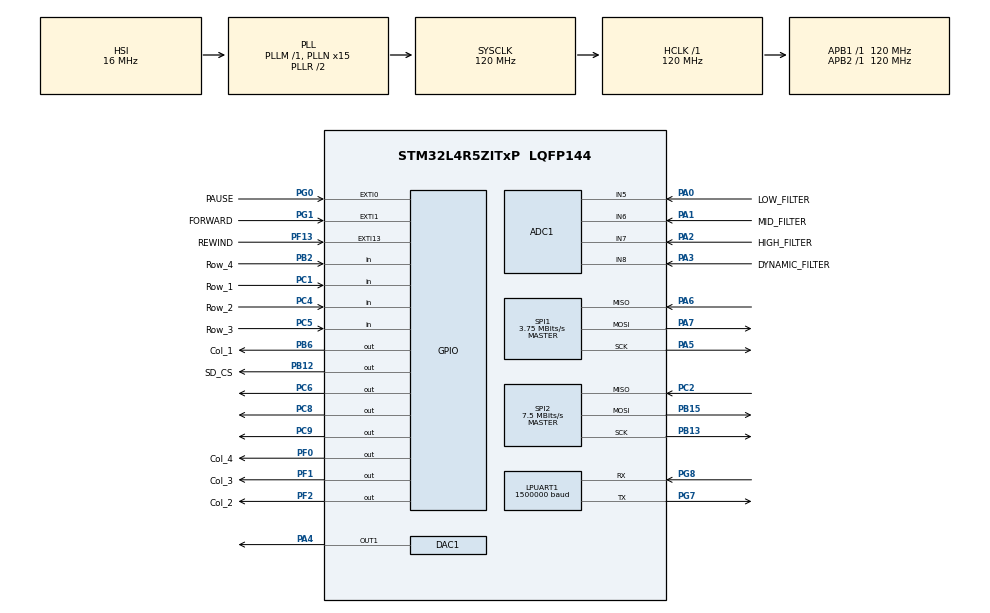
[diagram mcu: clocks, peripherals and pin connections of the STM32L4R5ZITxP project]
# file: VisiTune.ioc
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ADC1.Channel-0\#ChannelRegularConversion=ADC_CHANNEL_5
ADC1.Channel-1\#ChannelRegularConversion=ADC_CHANNEL_6
ADC1.Channel-2\#ChannelRegularConversion=ADC_CHANNEL_7
ADC1.Channel-3\#ChannelRegularConversion=ADC_CHANNEL_8
ADC1.ClockPrescaler=ADC_CLOCK_ASYNC_DIV2
ADC1.ContinuousConvMode=DISABLE
ADC1.DMAContinuousRequests=DISABLE
ADC1.ExternalTrigConv=ADC_SOFTWARE_START
ADC1.NbrOfConversion=4
ADC1.NbrOfConversionFlag=1
ADC1.OffsetNumber-0\#ChannelRegularConversion=ADC_OFFSET_NONE
ADC1.OffsetNumber-1\#ChannelRegularConversion=ADC_OFFSET_NONE
ADC1.OffsetNumber-2\#ChannelRegularConversion=ADC_OFFSET_NONE
ADC1.OffsetNumber-3\#ChannelRegularConversion=ADC_OFFSET_NONE
ADC1.Rank-0\#ChannelRegularConversion=1
ADC1.Rank-1\#ChannelRegularConversion=2
ADC1.Rank-2\#ChannelRegularConversion=3
ADC1.Rank-3\#ChannelRegularConversion=4
ADC1.SamplingTime-0\#ChannelRegularConversion=ADC_SAMPLETIME_247CYCLES_5
ADC1.SamplingTime-1\#ChannelRegularConversion=ADC_SAMPLETIME_247CYCLES_5
ADC1.SamplingTime-2\#ChannelRegularConversion=ADC_SAMPLETIME_247CYCLES_5
ADC1.SamplingTime-3\#ChannelRegularConversion=ADC_SAMPLETIME_247CYCLES_5
ADC1.master=1
DAC1.DAC_Trigger-DAC_OUT1=DAC_TRIGGER_T2_TRGO
Dma.ADC1.2.Direction=DMA_PERIPH_TO_MEMORY
Dma.ADC1.2.EventEnable=DISABLE
Dma.ADC1.2.Instance=DMA1_Channel3
Dma.ADC1.2.MemDataAlignment=DMA_MDATAALIGN_HALFWORD
Dma.ADC1.2.MemInc=DMA_MINC_ENABLE
Dma.ADC1.2.Mode=DMA_CIRCULAR
Dma.ADC1.2.PeriphDataAlignment=DMA_PDATAALIGN_HALFWORD
Dma.ADC1.2.PeriphInc=DMA_PINC_DISABLE
Dma.ADC1.2.Polarity=HAL_DMAMUX_REQUEST_GEN_RISING
Dma.ADC1.2.Priority=DMA_PRIORITY_LOW
Dma.ADC1.2.RequestNumber=1
Dma.ADC1.2.SignalID=NONE
Dma.ADC1.2.SyncEnable=DISABLE
Dma.ADC1.2.SyncPolarity=HAL_DMAMUX_SYNC_NO_EVENT
Dma.ADC1.2.SyncRequestNumber=1
Dma.ADC1.2.SyncSignalID=NONE
Dma.DAC1_CH1.0.Direction=DMA_MEMORY_TO_PERIPH
Dma.DAC1_CH1.0.EventEnable=DISABLE
Dma.DAC1_CH1.0.Instance=DMA1_Channel1
Dma.DAC1_CH1.0.MemDataAlignment=DMA_MDATAALIGN_HALFWORD
Dma.DAC1_CH1.0.MemInc=DMA_MINC_ENABLE
Dma.DAC1_CH1.0.Mode=DMA_CIRCULAR
Dma.DAC1_CH1.0.PeriphDataAlignment=DMA_PDATAALIGN_HALFWORD
Dma.DAC1_CH1.0.PeriphInc=DMA_PINC_DISABLE
Dma.DAC1_CH1.0.Polarity=HAL_DMAMUX_REQUEST_GEN_RISING
Dma.DAC1_CH1.0.Priority=DMA_PRIORITY_LOW
Dma.DAC1_CH1.0.RequestNumber=1
Dma.DAC1_CH1.0.SignalID=NONE
Dma.DAC1_CH1.0.SyncEnable=DISABLE
Dma.DAC1_CH1.0.SyncPolarity=HAL_DMAMUX_SYNC_NO_EVENT
Dma.DAC1_CH1.0.SyncRequestNumber=1
Dma.DAC1_CH1.0.SyncSignalID=NONE
Dma.LPUART1_RX.1.Direction=DMA_PERIPH_TO_MEMORY
Dma.LPUART1_RX.1.EventEnable=DISABLE
Dma.LPUART1_RX.1.Instance=DMA1_Channel2
Dma.LPUART1_RX.1.MemDataAlignment=DMA_MDATAALIGN_BYTE
Dma.LPUART1_RX.1.MemInc=DMA_MINC_ENABLE
Dma.LPUART1_RX.1.Mode=DMA_NORMAL
Dma.LPUART1_RX.1.PeriphDataAlignment=DMA_PDATAALIGN_BYTE
Dma.LPUART1_RX.1.PeriphInc=DMA_PINC_DISABLE
Dma.LPUART1_RX.1.Polarity=HAL_DMAMUX_REQUEST_GEN_RISING
Dma.LPUART1_RX.1.Priority=DMA_PRIORITY_LOW
Dma.LPUART1_RX.1.RequestNumber=1
Dma.LPUART1_RX.1.SignalID=NONE
Dma.LPUART1_RX.1.SyncEnable=DISABLE
Dma.LPUART1_RX.1.SyncPolarity=HAL_DMAMUX_SYNC_NO_EVENT
Dma.LPUART1_RX.1.SyncRequestNumber=1
Dma.LPUART1_RX.1.SyncSignalID=NONE
Dma.Request0=DAC1_CH1
Dma.Request1=LPUART1_RX
Dma.Request2=ADC1
Dma.Request3=SPI2_RX
Dma.SPI2_RX.3.Direction=DMA_PERIPH_TO_MEMORY
Dma.SPI2_RX.3.EventEnable=DISABLE
Dma.SPI2_RX.3.Instance=DMA1_Channel4
Dma.SPI2_RX.3.MemDataAlignment=DMA_MDATAALIGN_BYTE
Dma.SPI2_RX.3.MemInc=DMA_MINC_ENABLE
Dma.SPI2_RX.3.Mode=DMA_NORMAL
Dma.SPI2_RX.3.PeriphDataAlignment=DMA_PDATAALIGN_BYTE
Dma.SPI2_RX.3.PeriphInc=DMA_PINC_DISABLE
Dma.SPI2_RX.3.Polarity=HAL_DMAMUX_REQUEST_GEN_RISING
Dma.SPI2_RX.3.Priority=DMA_PRIORITY_LOW
Dma.SPI2_RX.3.RequestNumber=1
Dma.SPI2_RX.3.SignalID=NONE
Dma.SPI2_RX.3.SyncEnable=DISABLE
Dma.SPI2_RX.3.SyncPolarity=HAL_DMAMUX_SYNC_NO_EVENT
Dma.SPI2_RX.3.SyncRequestNumber=1
Dma.SPI2_RX.3.SyncSignalID=NONE
LPUART1.BaudRate=1500000
LPUART1.WordLength=UART_WORDLENGTH_8B
Mcu.Family=STM32L4
Mcu.Name=STM32L4R5ZITxP
Mcu.Package=LQFP144
NVIC.ADC1_IRQn=true\:0\:0\:false\:false\:true\:true\:true\:true
NVIC.DMA1_Channel1_IRQn=true\:0\:0\:false\:false\:true\:false\:true\:true
NVIC.DMA1_Channel2_IRQn=true\:0\:0\:false\:false\:true\:false\:true\:true
NVIC.DMA1_Channel3_IRQn=true\:0\:0\:false\:false\:true\:false\:true\:true
NVIC.DMA1_Channel4_IRQn=true\:0\:0\:false\:false\:true\:false\:true\:true
NVIC.EXTI0_IRQn=true\:0\:0\:false\:false\:true\:true\:true\:true
NVIC.EXTI15_10_IRQn=true\:0\:0\:false\:false\:true\:true\:true\:true
NVIC.EXTI1_IRQn=true\:0\:0\:false\:false\:true\:true\:true\:true
NVIC.LPUART1_IRQn=true\:0\:0\:false\:false\:true\:true\:true\:true
NVIC.PriorityGroup=NVIC_PRIORITYGROUP_4
PA0.GPIO_Label=LOW_FILTER
PA0.Signal=ADCx_IN5
PA1.GPIO_Label=MID_FILTER
PA1.Signal=ADCx_IN6
PA10.Signal=USB_OTG_FS_ID
PA13\ (JTMS/SWDIO).Signal=SYS_JTMS-SWDIO
PA14\ (JTCK/SWCLK).Signal=SYS_JTCK-SWCLK
PA2.GPIO_Label=HIGH_FILTER
PA2.Signal=ADCx_IN7
PA3.GPIO_Label=DYNAMIC_FILTER
PA3.Signal=ADCx_IN8
PA4.Signal=COMP_DAC11_group
PA5.Mode=Full_Duplex_Master
PA5.Signal=SPI1_SCK
PA6.Mode=Full_Duplex_Master
PA6.Signal=SPI1_MISO
PA7.Mode=Full_Duplex_Master
PA7.Signal=SPI1_MOSI
PA8.Signal=USB_OTG_FS_SOF
PA9.Signal=USB_OTG_FS_VBUS
PB0.Signal=S_TIM3_CH3
PB1.Signal=ADCx_IN16
PB10.Signal=S_TIM2_CH3
PB12.GPIO_Label=SD_CS
PB12.Signal=GPIO_Output
PB13.Mode=Full_Duplex_Master
PB13.Signal=SPI2_SCK
PB14.Signal=S_TIM15_CH1
PB15.Mode=Full_Duplex_Master
PB15.Signal=SPI2_MOSI
PB2.GPIO_Label=Row_4
PB2.GPIO_PuPd=GPIO_PULLUP
PB2.Signal=GPIO_Input
PB3\ (JTDO/TRACESWO).Signal=SPI3_SCK
PB4\ (NJTRST).Signal=SPI3_MISO
PB5.Signal=SPI3_MOSI
PB6.GPIO_Label=Col_1
PB6.PinState=GPIO_PIN_SET
PB6.Signal=GPIO_Output
PB8.Signal=I2C1_SCL
PB9.Signal=I2C1_SDA
PC0.Signal=ADCx_IN1
PC1.GPIO_Label=Row_1
PC1.GPIO_Mode=GPIO_MODE_INPUT
PC1.GPIO_PuPd=GPIO_PULLUP
PC1.Signal=GPIO_Input
PC10.Signal=SDMMC1_D2
PC11.Signal=SDMMC1_D3
PC12.Signal=SDMMC1_CK
PC13.Signal=SYS_WKUP2
PC14-OSC32_IN\ (PC14).Signal=RCC_OSC32_IN
PC15-OSC32_OUT\ (PC15).Signal=RCC_OSC32_OUT
PC2.Mode=Full_Duplex_Master
PC2.Signal=SPI2_MISO
PC3.Signal=ADCx_IN4
PC4.GPIO_Label=Row_2
PC4.GPIO_Mode=GPIO_MODE_INPUT
PC4.GPIO_PuPd=GPIO_PULLUP
PC4.Signal=GPIO_Input
PC5.GPIO_Label=Row_3
PC5.GPIO_Mode=GPIO_MODE_INPUT
PC5.GPIO_PuPd=GPIO_PULLUP
PC5.Signal=GPIO_Input
PC6.Signal=GPIO_Output
PC7.Signal=S_TIM3_CH2
PC8.Signal=GPIO_Output
PC9.Signal=GPIO_Output
PD0.Signal=CAN1_RX
PD14.Signal=S_TIM4_CH3
PD15.Signal=S_TIM4_CH4
PD2.Signal=SDMMC1_CMD
PD3.Signal=USART2_CTS
PD5.Signal=USART2_TX
PD6.Signal=USART2_RX
PD8.Signal=USART3_TX
PD9.Signal=USART3_RX
PE0.Signal=S_TIM4_ETR
PE10.Signal=TIM1_CH2N
PE11.Signal=S_TIM1_CH2
PE12.Signal=TIM1_CH3N
PE13.Signal=S_TIM1_CH3
PE14.Signal=TIM1_BKIN2
PE15.Signal=TIM1_BKIN
PE2.Signal=SAI1_MCLK_A
PE3.Signal=SAI1_SD_B
PE7.Signal=S_TIM1_ETR
PE8.Signal=TIM1_CH1N
PE9.Signal=S_TIM1_CH1
PF0.GPIO_Label=Col_4
PF0.PinState=GPIO_PIN_SET
PF0.Signal=GPIO_Output
PF1.GPIO_Label=Col_3
PF1.PinState=GPIO_PIN_SET
PF1.Signal=GPIO_Output
PF13.GPIO_Label=REWIND
PF13.GPIO_PuPd=GPIO_PULLUP
PF13.Signal=GPXTI13
PF2.GPIO_Label=Col_2
PF2.PinState=GPIO_PIN_SET
PF2.Signal=GPIO_Output
PF7.Signal=SAI1_MCLK_B
PG0.GPIO_Label=PAUSE
PG0.GPIO_PuPd=GPIO_PULLUP
PG0.Signal=GPXTI0
PG1.GPIO_Label=FORWARD
PG1.GPIO_PuPd=GPIO_PULLUP
PG1.Signal=GPXTI1
PG7.Mode=Asynchronous
PG7.Signal=LPUART1_TX
PG8.Mode=Asynchronous
PG8.Signal=LPUART1_RX
PH0-OSC_IN\ (PH0).Signal=RCC_OSC_IN
PH1-OSC_OUT\ (PH1).Signal=RCC_OSC_OUT
ProjectManager.HeapSize=0x200
ProjectManager.StackSize=0x400
ProjectManager.TargetToolchain=STM32CubeIDE
RCC.ADCFreq_Value=64000000
RCC.AHBFreq_Value=120000000
RCC.APB1Freq_Value=120000000
RCC.APB1TimFreq_Value=120000000
RCC.APB2Freq_Value=120000000
RCC.APB2TimFreq_Value=120000000
RCC.CortexFreq_Value=120000000
RCC.HCLKFreq_Value=120000000
RCC.HSE_VALUE=8000000
RCC.HSI48_VALUE=48000000
RCC.HSI_VALUE=16000000
RCC.LSE_VALUE=32768
RCC.MSI_VALUE=4000000
RCC.PLLN=15
RCC.PLLSourceVirtual=RCC_PLLSOURCE_HSI
RCC.SYSCLKFreq_VALUE=120000000
RCC.SYSCLKSource=RCC_SYSCLKSOURCE_PLLCLK
RCC.USBFreq_Value=64000000
RCC.VCOOutputFreq_Value=240000000
SH.ADCx_IN1.0=ADC1_IN1
SH.ADCx_IN16.0=ADC1_IN16
SH.ADCx_IN4.0=ADC1_IN4
SH.ADCx_IN5.0=ADC1_IN5,IN5-Single-Ended
SH.ADCx_IN6.0=ADC1_IN6,IN6-Single-Ended
SH.ADCx_IN7.0=ADC1_IN7,IN7-Single-Ended
SH.ADCx_IN8.0=ADC1_IN8,IN8-Single-Ended
SH.COMP_DAC11_group.0=DAC1_OUT1,DAC_OUT1
SH.S_TIM15_CH1.0=TIM15_CH1
SH.S_TIM1_CH1.0=TIM1_CH1
SH.S_TIM1_CH2.0=TIM1_CH2
SH.S_TIM1_CH3.0=TIM1_CH3
SH.S_TIM1_ETR.0=TIM1_ETR
SH.S_TIM2_CH3.0=TIM2_CH3
SH.S_TIM3_CH2.0=TIM3_CH2
SH.S_TIM3_CH3.0=TIM3_CH3
SH.S_TIM4_CH3.0=TIM4_CH3
SH.S_TIM4_CH4.0=TIM4_CH4
SH.S_TIM4_ETR.0=TIM4_ETR
SPI1.BaudRatePrescaler=SPI_BAUDRATEPRESCALER_32
SPI1.CalculateBaudRate=3.75 MBits/s
SPI1.DataSize=SPI_DATASIZE_8BIT
SPI1.Direction=SPI_DIRECTION_2LINES
SPI1.Mode=SPI_MODE_MASTER
SPI1.VirtualType=VM_MASTER
SPI2.BaudRatePrescaler=SPI_BAUDRATEPRESCALER_16
SPI2.CalculateBaudRate=7.5 MBits/s
SPI2.DataSize=SPI_DATASIZE_8BIT
SPI2.Direction=SPI_DIRECTION_2LINES
SPI2.Mode=SPI_MODE_MASTER
SPI2.VirtualType=VM_MASTER
TIM1.AutoReloadPreload=TIM_AUTORELOAD_PRELOAD_ENABLE
TIM1.Period=49
TIM1.Prescaler=119
TIM2.Period=4999
TIM2.TIM_MasterOutputTrigger=TIM_TRGO_UPDATE
VP_FATFS_VS_Generic.Mode=User_defined
VP_TIM1_VS_ClockSourceINT.Mode=Internal
VP_TIM2_VS_ClockSourceINT.Mode=Internal
board=NUCLEO-L4R5ZI-P

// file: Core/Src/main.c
/* USER CODE BEGIN Header */
/**
 ******************************************************************************
 * @file           : main.c
 * @brief          : Main program body
 ******************************************************************************
 * @attention
 *
 * Copyright (c) 2025 STMicroelectronics.
 * All rights reserved.
 *
 * This software is licensed under terms that can be found in the LICENSE file
 * in the root directory of this software component.
 * If no LICENSE file comes with this software, it is provided AS-IS.
 *
 ******************************************************************************
 */
/* USER CODE END Header */
#include "main.h"

#include "fatfs.h"

/* USER CODE BEGIN Includes */
#include <string.h>

#include "MIDI.h"
#include "arm_math.h"
#include "packets.h"
#include "sd_card.h"
#include "tft.h"

/* USER CODE END Includes */

/* USER CODE BEGIN PD */
#define PKT_SYNC_SIZE 2                                    // 0xA5, 0x5A
#define PKT_HEADER_SIZE (sizeof(pkt_header_t))             // 7 bytes (packed)
#define PKT_PREFIX_SIZE (PKT_SYNC_SIZE + PKT_HEADER_SIZE)  // 9 bytes before payload
#define PKT_CRC_SIZE 2

#define UART_ACK_HEADER 'H'
#define UART_ACK_OK 'S'
#define UART_ACK_ERR 'E'
#define UART_ACK_NEXT_AUDIO_CHUNK 'A'

// Packet size/overhead (must match Python script)
#define PKT_OVERHEAD (PKT_SYNC_SIZE + PKT_HEADER_SIZE + PKT_CRC_SIZE)  // 11
#define PKT_MAX_SIZE 0xFFFFu  // total packet: sync+header+payload+CRC

#define IMG_PKT_MAX_SIZE PKT_MAX_SIZE
#define AUD_PKT_MAX_SIZE PKT_MAX_SIZE

#define IMG_MAX_PAYLOAD_BYTES (IMG_PKT_MAX_SIZE - PKT_OVERHEAD)
#define AUD_MAX_PAYLOAD_BYTES (AUD_PKT_MAX_SIZE - PKT_OVERHEAD)

// DAC circular buffer: 2 halves, each half holds one max audio payload worth of samples
// 2 bytes per 16-bit PCM sample => samples = bytes/2
#define DAC_HALF_SAMPLES (AUD_MAX_PAYLOAD_BYTES / 2u)
#define DAC_BUF_SAMPLES (2u * DAC_HALF_SAMPLES)
/* USER CODE END PD */

ADC_HandleTypeDef hadc1;
DMA_HandleTypeDef hdma_adc1;

DAC_HandleTypeDef hdac1;
DMA_HandleTypeDef hdma_dac1_ch1;

UART_HandleTypeDef hlpuart1;
DMA_HandleTypeDef hdma_lpuart1_rx;

SPI_HandleTypeDef hspi1;
SPI_HandleTypeDef hspi2;
DMA_HandleTypeDef hdma_spi2_rx;

TIM_HandleTypeDef htim1;
TIM_HandleTypeDef htim2;

/* USER CODE BEGIN PV */

// ADC declarations
uint16_t adc_buf[4];
uint8_t rewind_flag = 0;
uint8_t pause_state = 0;
uint8_t forward_flag = 0;

// MIDI declarations
char keyPress;
uint32_t MIDI_index = 0;
uint8_t MIDI_playing = 0;
uint8_t sound_effect_index = 0;
const uint16_t* MIDI_effects[] = {crowd_cheer, bass_kick, eh,     hi_hat,
                                  medium_kick, snare1,    snare2, vine_boom};
const uint32_t MIDI_lengths[] = {crowd_cheer_len, bass_kick_len, eh_len,     hi_hat_len,
                                 medium_kick_len, snare1_len,    snare2_len, vine_boom_len};

// UART RX context
typedef enum {
    RX_STATE_WAIT_PREFIX,   // waiting for 2 sync + 7 header bytes
    RX_STATE_WAIT_PAYLOAD,  // waiting for payload (image or audio)
    RX_STATE_WAIT_CRC       // waiting for audio CRC (2 bytes)
} uart_rx_state_t;

typedef struct {
    uart_rx_state_t state;
    uint8_t prefix_buf[PKT_PREFIX_SIZE];  // 9 bytes: sync + header
    pkt_header_t header;
    uint16_t payload_len;
    uint8_t* payload_dst;  // destination buffer for payload+CRC
} uart_rx_ctx_t;

uart_rx_ctx_t g_uart_rx;

// Buffers
uint16_t dac_buf[DAC_BUF_SAMPLES];  // DAC circular buffer

uint8_t image_pkt_buf[IMG_MAX_PAYLOAD_BYTES + PKT_CRC_SIZE];

// Audio RX views onto dac_buf halves
uint8_t* audio_pkt_buf0 = (uint8_t*)dac_buf;                     // first half
uint8_t* audio_pkt_buf1 = (uint8_t*)&dac_buf[DAC_HALF_SAMPLES];  // second half

// NEW: CRC storage for audio packets
uint8_t audio_crc_buf[PKT_CRC_SIZE];

// Flags
volatile uint8_t image_pkt_ready = 0;
volatile uint16_t image_pkt_len = 0;

volatile uint8_t audio_pkt_ready = 0;
volatile uint8_t audio_write_idx = 0;  // 0 or 1
volatile uint16_t audio_pkt_len = 0;

// Which halves of dac_buf are free to write into
volatile uint8_t half0_free = 1;  // dac_buf[0 .. DAC_HALF_SAMPLES-1]
volatile uint8_t half1_free = 1;  // dac_buf[DAC_HALF_SAMPLES .. end]

volatile uint8_t audio_stream_active = 0;

// Stream state for DAC priming
volatile uint8_t dac_running = 0;        // 0 = DAC DMA stopped, 1 = running
volatile uint8_t audio_prime_count = 0;  // how many good packets we've accepted this stream

volatile uint16_t ctrl_pkt_len = 0;
volatile uint8_t ctrl_pkt_ready = 0;
uint8_t ctrl_buf[16];

q15_t filter_buf[DAC_HALF_SAMPLES];
#define FFT_SIZE 1024
#define FFT_INCREMENT (FFT_SIZE / 2)

float32_t fft_in[FFT_SIZE];
float32_t fft_out[FFT_SIZE];
float32_t overlap[FFT_INCREMENT];
static float32_t window[FFT_SIZE];
q15_t debug_out_buffer[DAC_HALF_SAMPLES];

arm_rfft_fast_instance_f32 rfft;

/* USER CODE END PV */

void SystemClock_Config(void);
static void MX_GPIO_Init(void);
static void MX_DMA_Init(void);
static void MX_SPI1_Init(void);
static void MX_TIM1_Init(void);
static void MX_LPUART1_UART_Init(void);
static void MX_DAC1_Init(void);
static void MX_TIM2_Init(void);
static void MX_ADC1_Init(void);
static void MX_SPI2_Init(void);
/* USER CODE BEGIN PFP */
static void uart_start_header_rx(void);
static void processFFT(const q15_t* in, q15_t* out, uint16_t num_samples);
static void ADC_ReadAll_Polling(void);
static void protocol_soft_reset(void);
static void MIDI_Check(void);
static char read_keypad(void);
/* USER CODE END PFP */

int main(void) {

    /* MCU Configuration--------------------------------------------------------*/

    /* Reset of all peripherals, Initializes the Flash interface and the Systick. */
    HAL_Init();

    /* Configure the system clock */
    SystemClock_Config();

    /* Initialize all configured peripherals */
    MX_GPIO_Init();
    MX_DMA_Init();
    MX_SPI1_Init();
    MX_TIM1_Init();
    MX_LPUART1_UART_Init();
    MX_DAC1_Init();
    MX_TIM2_Init();
    MX_ADC1_Init();
    MX_FATFS_Init();
    MX_SPI2_Init();
    /* USER CODE BEGIN 2 */
    tft_init();
    tft_fill_rect(0, 0, 480, 320, 0xAAAA);
    HAL_GPIO_WritePin(GPIOC, GPIO_PIN_6, GPIO_PIN_SET);  // LED ON

    // Start the ADC reads for the potentiometers and sliders
    HAL_ADCEx_Calibration_Start(&hadc1, ADC_SINGLE_ENDED);

    // Receieve the header from UART
    uart_start_header_rx();

    /* Start TIM2 (48 kHz trigger) */
    HAL_TIM_Base_Start(&htim2);

    /* Init DAC circular buffer to mid-scale (silence) */
    for (uint32_t i = 0; i < DAC_BUF_SAMPLES; ++i) {
        dac_buf[i] = 2048;  // mid-scale for 12-bit
    }

    /* Do NOT start DAC DMA here.
     * We'll start it after we've "primed" the buffer with at least
     * two good audio packets of a new stream.
     */
    dac_running = 0;
    audio_prime_count = 0;
    audio_stream_active = 0;

    // INIT FIR
    arm_rfft_fast_init_f32(&rfft, FFT_SIZE);
    for (int i = 0; i < FFT_SIZE; i++) {
        window[i] = 0.5f - 0.5f * arm_cos_f32((2 * PI * i) / (FFT_SIZE - 1));
    }
    memset(overlap, 0, sizeof(overlap));

    HAL_ADCEx_Calibration_Start(&hadc1, ADC_SINGLE_ENDED);

    /* USER CODE END 2 */

    /* Infinite loop */
    /* USER CODE BEGIN WHILE */

    while (1) {
        keyPress = read_keypad();
        ADC_ReadAll_Polling();
        MIDI_Check();

        if (ctrl_pkt_ready) {
            ctrl_pkt_ready = 0;
            uint8_t cmd = ctrl_buf[0];

            if (cmd == CTRL_CMD_AUDIO_STOP) {
                __disable_irq();
                audio_stream_active = 0;

                // Drop any pending audio packet in-flight
                audio_pkt_ready = 0;
                audio_pkt_len = 0;

                // Release both halves so future streams start clean
                half0_free = 1;
                half1_free = 1;

                // Reset priming state
                audio_prime_count = 0;

                __enable_irq();

                // Stop DAC DMA if it was running
                if (dac_running) {
                    HAL_DAC_Stop_DMA(&hdac1, DAC_CHANNEL_1);
                    dac_running = 0;
                }

                // Fill DAC buffer with silence
                for (uint32_t i = 0; i < DAC_BUF_SAMPLES; ++i) {
                    dac_buf[i] = 2048;
                }

                uint8_t ack = UART_ACK_OK;  // 'S'
                HAL_UART_Transmit(&hlpuart1, &ack, 1, 10);

                // Re-arm header RX
                uart_start_header_rx();
            }

            // Skip directly to next loop iteration so we don't process audio
            // in the same pass after a STOP.
            continue;
        }

        // 1) Handle image packets
        if (image_pkt_ready) {
            uint16_t payload_len;
            uint8_t hdr_bytes[CRC_HEADER_LEN];

            __disable_irq();
            payload_len = image_pkt_len;  // bytes of image payload
            image_pkt_ready = 0;

            // Snapshot the header fields for this packet into hdr_bytes[0..6]
            hdr_bytes[0] = g_uart_rx.header.version;
            hdr_bytes[1] = g_uart_rx.header.data_type;
            hdr_bytes[2] = g_uart_rx.header.flags;
            hdr_bytes[3] = (uint8_t)(g_uart_rx.header.seq >> 8);
            hdr_bytes[4] = (uint8_t)(g_uart_rx.header.seq & 0xFF);
            hdr_bytes[5] = (uint8_t)(g_uart_rx.header.len >> 8);
            hdr_bytes[6] = (uint8_t)(g_uart_rx.header.len & 0xFF);
            __enable_irq();

            if (payload_len <= sizeof(image_pkt_buf)) {
                uint16_t recv_crc = ((uint16_t)image_pkt_buf[payload_len] << 8) |
                                    (uint16_t)image_pkt_buf[payload_len + 1];

                // Use the *snapshotted* header bytes, not prefix_buf
                uint16_t calc_crc = crc16_ccitt(hdr_bytes, image_pkt_buf, payload_len);

                if (calc_crc != recv_crc) {
                    uint8_t nack = UART_ACK_ERR;
                    HAL_UART_Transmit(&hlpuart1, &nack, 1, 10);
                } else {
                    parse_and_apply_image_packet(image_pkt_buf, payload_len);

                    uint8_t ack = UART_ACK_OK;
                    HAL_UART_Transmit(&hlpuart1, &ack, 1, 10);
                }
            } else {
                uint8_t nack = UART_ACK_ERR;
                HAL_UART_Transmit(&hlpuart1, &nack, 1, 10);
            }
        }

        // 2) Handle audio packets (fill halves of dac_buf, DAC runs continuously)
        // 2) Handle audio packets (convert in-place in dac_buf, DAC runs continuously)
        if (audio_pkt_ready) {
            uint8_t idx;
            uint16_t payload_len;
            uint8_t hdr_bytes[CRC_HEADER_LEN];
            uint8_t send_manual_A = 0;

            // Snapshot shared state quickly
            __disable_irq();
            idx = audio_write_idx;        // 0 or 1
            payload_len = audio_pkt_len;  // bytes of audio payload
            audio_pkt_ready = 0;
            __enable_irq();

            // Header snapshot (same as before)
            hdr_bytes[0] = g_uart_rx.header.version;
            hdr_bytes[1] = g_uart_rx.header.data_type;
            hdr_bytes[2] = g_uart_rx.header.flags;
            hdr_bytes[3] = (uint8_t)(g_uart_rx.header.seq >> 8);
            hdr_bytes[4] = (uint8_t)(g_uart_rx.header.seq & 0xFF);
            hdr_bytes[5] = (uint8_t)(g_uart_rx.header.len >> 8);
            hdr_bytes[6] = (uint8_t)(g_uart_rx.header.len & 0xFF);

            // Sanity-check length
            if (payload_len > AUD_MAX_PAYLOAD_BYTES) {
                if (idx == 0) half0_free = 1; else half1_free = 1;
                uint8_t nack = UART_ACK_ERR;
                HAL_UART_Transmit(&hlpuart1, &nack, 1, 10);
                uart_start_header_rx();
                continue;
            }

            // CRC check (payload already in the selected half)
            uint8_t* payload_bytes = (uint8_t*)((idx == 0) ? &dac_buf[0] : &dac_buf[DAC_HALF_SAMPLES]);
            uint16_t recv_crc = ((uint16_t)audio_crc_buf[0] << 8) | (uint16_t)audio_crc_buf[1];
            uint16_t calc_crc = crc16_ccitt(hdr_bytes, payload_bytes, payload_len);

            if (calc_crc != recv_crc) {
                if (idx == 0) half0_free = 1; else half1_free = 1;
                uint8_t nack = UART_ACK_ERR;
                HAL_UART_Transmit(&hlpuart1, &nack, 1, 10);
                uart_start_header_rx();
                continue;
            }

            // Good packet: process into a temporary output buffer to avoid races.
            uint16_t num_samples = payload_len / 2;
            if (num_samples > DAC_HALF_SAMPLES) num_samples = DAC_HALF_SAMPLES;

            int16_t* src = (int16_t*)payload_bytes;   // raw PCM from UART (signed 16-bit)
            static uint16_t proc_buf[DAC_HALF_SAMPLES]; // processed unsigned-12-bit values (0..4095)
            // Keep a local copy of MIDI state so you only advance MIDI_index while producing real output samples:
            uint32_t local_midi_index = MIDI_index;
            uint8_t local_midi_playing = MIDI_playing;
            int32_t last_midi_sample = 0; // keep last MIDI sample for hold if desired

            // 1) Run FFT / filter to fill filter_buf (q15_t / int16_t out)
            processFFT(src, filter_buf, num_samples); // filter_buf[] filled with int16_t in -32768..32767

            // 2) Produce mixed samples into proc_buf (12-bit unsigned, right-aligned)
            for (uint16_t i = 0; i < num_samples; ++i) {
                int32_t a = filter_buf[i]; // -32768 .. 32767

                // Convert 16-bit -> 12-bit signed
                int32_t temp = a >> 4; // -2048 .. 2047
                if (temp < -2048) temp = -2048;
                if (temp > 2047)  temp = 2047;

                // MIDI sample (12-bit signed). Only advance local_midi_index when generating real samples.
                int32_t m = 0;
                if (local_midi_playing && (local_midi_index < MIDI_lengths[sound_effect_index])) {
                    m = MIDI_effects[sound_effect_index][local_midi_index++];
                    last_midi_sample = m;
                } else if (local_midi_playing) {
                    // MIDI finished during this half -> stop further MIDI playback
                    local_midi_playing = 0;
                    local_midi_index = 0;
                    m = 0;
                } else {
                    m = 0;
                }

                int32_t mix = temp + m;

                // Clip to signed 12-bit range
                if (mix < -2048) mix = -2048;
                if (mix > 2047) mix = 2047;

                // Convert to unsigned 12-bit for DAC (0..4095)
                proc_buf[i] = (uint16_t)(mix + 2048);
            }

            // 3) Padding: do NOT advance MIDI_index for padding samples.
            //    We'll either silence pad or hold last MIDI sample (prefer silence to keep timing deterministic).
            for (uint16_t i = num_samples; i < DAC_HALF_SAMPLES; ++i) {
                // choose either silence (0) or last_midi_sample for "hold" behavior:
                // int32_t m = last_midi_sample; // hold last MIDI
                int32_t m = 0; // silence during padding

                // Clip just in case
                if (m < -2048) m = -2048;
                if (m > 2047)  m = 2047;

                proc_buf[i] = (uint16_t)(m + 2048);
            }

            // 4) Atomically copy proc_buf -> chosen half of dac_buf while short IRQ disabled.
            // This makes sure DMA never sees a partially-updated half.
            __disable_irq();
            memcpy(payload_bytes, proc_buf, DAC_HALF_SAMPLES * sizeof(uint16_t));
            // Commit MIDI_index/MIDI_playing back to globals only after copy so their state corresponds to written data.
            MIDI_index = local_midi_index;
            MIDI_playing = local_midi_playing;
            __enable_irq();

            // ---- Priming / DAC-start logic (unchanged, operate after buffer is filled) ----
            if (!dac_running) {
                audio_prime_count++;

                if (audio_prime_count == 1) {
                    send_manual_A = 1; // request next packet immediately
                } else if (audio_prime_count == 2) {
                    if (HAL_DAC_Start_DMA(&hdac1, DAC_CHANNEL_1, (uint32_t*)dac_buf,
                                          DAC_BUF_SAMPLES, DAC_ALIGN_12B_R) != HAL_OK) {
                        Error_Handler();
                    }
                    dac_running = 1;
                    audio_stream_active = 1;
                }
            } else {
                // Already running: keep stream_active unless LAST
                if (!(hdr_bytes[2] & PKT_FLAG_LAST)) {
                    audio_stream_active = 1;
                }
            }

            // If this packet is marked LAST, stop requesting future audio.
            if (hdr_bytes[2] & PKT_FLAG_LAST) {
                audio_stream_active = 0;
            }

            // ACK the PC that packet was accepted
            {
                uint8_t ack = UART_ACK_OK;
                HAL_UART_Transmit(&hlpuart1, &ack, 1, 10);
            }

            // If priming and we just finished the first packet, ask the PC for next chunk now
            if (send_manual_A) {
                uint8_t req = UART_ACK_NEXT_AUDIO_CHUNK; // 'A'
                HAL_UART_Transmit(&hlpuart1, &req, 1, 10);
            }

            // Re-arm UART header receive for next frame
            uart_start_header_rx();
        }

        /* USER CODE END WHILE */

    }
}

void SystemClock_Config(void) {
    RCC_OscInitTypeDef RCC_OscInitStruct = {0};
    RCC_ClkInitTypeDef RCC_ClkInitStruct = {0};

    /** Configure the main internal regulator output voltage
     */
    if (HAL_PWREx_ControlVoltageScaling(PWR_REGULATOR_VOLTAGE_SCALE1_BOOST) != HAL_OK) {
        Error_Handler();
    }

    /** Initializes the RCC Oscillators according to the specified parameters
     * in the RCC_OscInitTypeDef structure.
     */
    RCC_OscInitStruct.OscillatorType = RCC_OSCILLATORTYPE_HSI;
    RCC_OscInitStruct.HSIState = RCC_HSI_ON;
    RCC_OscInitStruct.HSICalibrationValue = RCC_HSICALIBRATION_DEFAULT;
    RCC_OscInitStruct.PLL.PLLState = RCC_PLL_ON;
    RCC_OscInitStruct.PLL.PLLSource = RCC_PLLSOURCE_HSI;
    RCC_OscInitStruct.PLL.PLLM = 1;
    RCC_OscInitStruct.PLL.PLLN = 15;
    RCC_OscInitStruct.PLL.PLLP = RCC_PLLP_DIV2;
    RCC_OscInitStruct.PLL.PLLQ = RCC_PLLQ_DIV2;
    RCC_OscInitStruct.PLL.PLLR = RCC_PLLR_DIV2;
    if (HAL_RCC_OscConfig(&RCC_OscInitStruct) != HAL_OK) {
        Error_Handler();
    }

    /** Initializes the CPU, AHB and APB buses clocks
     */
    RCC_ClkInitStruct.ClockType =
        RCC_CLOCKTYPE_HCLK | RCC_CLOCKTYPE_SYSCLK | RCC_CLOCKTYPE_PCLK1 | RCC_CLOCKTYPE_PCLK2;
    RCC_ClkInitStruct.SYSCLKSource = RCC_SYSCLKSOURCE_PLLCLK;
    RCC_ClkInitStruct.AHBCLKDivider = RCC_SYSCLK_DIV1;
    RCC_ClkInitStruct.APB1CLKDivider = RCC_HCLK_DIV1;
    RCC_ClkInitStruct.APB2CLKDivider = RCC_HCLK_DIV1;

    if (HAL_RCC_ClockConfig(&RCC_ClkInitStruct, FLASH_LATENCY_5) != HAL_OK) {
        Error_Handler();
    }
}

static void MX_ADC1_Init(void) {

    ADC_ChannelConfTypeDef sConfig = {0};

    /** Common config
     */
    hadc1.Instance = ADC1;
    hadc1.Init.ClockPrescaler = ADC_CLOCK_ASYNC_DIV2;
    hadc1.Init.Resolution = ADC_RESOLUTION_12B;
    hadc1.Init.DataAlign = ADC_DATAALIGN_RIGHT;
    hadc1.Init.ScanConvMode = ADC_SCAN_ENABLE;
    hadc1.Init.EOCSelection = ADC_EOC_SINGLE_CONV;
    hadc1.Init.LowPowerAutoWait = DISABLE;
    hadc1.Init.ContinuousConvMode = DISABLE;
    hadc1.Init.NbrOfConversion = 4;
    hadc1.Init.DiscontinuousConvMode = DISABLE;
    hadc1.Init.ExternalTrigConv = ADC_SOFTWARE_START;
    hadc1.Init.ExternalTrigConvEdge = ADC_EXTERNALTRIGCONVEDGE_NONE;
    hadc1.Init.DMAContinuousRequests = DISABLE;
    hadc1.Init.Overrun = ADC_OVR_DATA_PRESERVED;
    hadc1.Init.OversamplingMode = DISABLE;
    if (HAL_ADC_Init(&hadc1) != HAL_OK) {
        Error_Handler();
    }

    /** Configure Regular Channel
     */
    sConfig.Channel = ADC_CHANNEL_5;
    sConfig.Rank = ADC_REGULAR_RANK_1;
    sConfig.SamplingTime = ADC_SAMPLETIME_247CYCLES_5;
    sConfig.SingleDiff = ADC_SINGLE_ENDED;
    sConfig.OffsetNumber = ADC_OFFSET_NONE;
    sConfig.Offset = 0;
    if (HAL_ADC_ConfigChannel(&hadc1, &sConfig) != HAL_OK) {
        Error_Handler();
    }

    /** Configure Regular Channel
     */
    sConfig.Channel = ADC_CHANNEL_6;
    sConfig.Rank = ADC_REGULAR_RANK_2;
    if (HAL_ADC_ConfigChannel(&hadc1, &sConfig) != HAL_OK) {
        Error_Handler();
    }

    /** Configure Regular Channel
     */
    sConfig.Channel = ADC_CHANNEL_7;
    sConfig.Rank = ADC_REGULAR_RANK_3;
    if (HAL_ADC_ConfigChannel(&hadc1, &sConfig) != HAL_OK) {
        Error_Handler();
    }

    /** Configure Regular Channel
     */
    sConfig.Channel = ADC_CHANNEL_8;
    sConfig.Rank = ADC_REGULAR_RANK_4;
    if (HAL_ADC_ConfigChannel(&hadc1, &sConfig) != HAL_OK) {
        Error_Handler();
    }
}

static void MX_DAC1_Init(void) {

    DAC_ChannelConfTypeDef sConfig = {0};

    /** DAC Initialization
     */
    hdac1.Instance = DAC1;
    if (HAL_DAC_Init(&hdac1) != HAL_OK) {
        Error_Handler();
    }

    /** DAC channel OUT1 config
     */
    sConfig.DAC_SampleAndHold = DAC_SAMPLEANDHOLD_DISABLE;
    sConfig.DAC_Trigger = DAC_TRIGGER_T2_TRGO;
    sConfig.DAC_HighFrequency = DAC_HIGH_FREQUENCY_INTERFACE_MODE_ABOVE_80MHZ;
    sConfig.DAC_OutputBuffer = DAC_OUTPUTBUFFER_ENABLE;
    sConfig.DAC_ConnectOnChipPeripheral = DAC_CHIPCONNECT_DISABLE;
    sConfig.DAC_UserTrimming = DAC_TRIMMING_FACTORY;
    if (HAL_DAC_ConfigChannel(&hdac1, &sConfig, DAC_CHANNEL_1) != HAL_OK) {
        Error_Handler();
    }
}

static void MX_LPUART1_UART_Init(void) {

    hlpuart1.Instance = LPUART1;
    hlpuart1.Init.BaudRate = 1500000;
    hlpuart1.Init.WordLength = UART_WORDLENGTH_8B;
    hlpuart1.Init.StopBits = UART_STOPBITS_1;
    hlpuart1.Init.Parity = UART_PARITY_NONE;
    hlpuart1.Init.Mode = UART_MODE_TX_RX;
    hlpuart1.Init.HwFlowCtl = UART_HWCONTROL_NONE;
    hlpuart1.Init.OneBitSampling = UART_ONE_BIT_SAMPLE_DISABLE;
    hlpuart1.Init.ClockPrescaler = UART_PRESCALER_DIV1;
    hlpuart1.AdvancedInit.AdvFeatureInit = UART_ADVFEATURE_NO_INIT;
    hlpuart1.FifoMode = UART_FIFOMODE_DISABLE;
    if (HAL_UART_Init(&hlpuart1) != HAL_OK) {
        Error_Handler();
    }
    if (HAL_UARTEx_SetTxFifoThreshold(&hlpuart1, UART_TXFIFO_THRESHOLD_1_8) != HAL_OK) {
        Error_Handler();
    }
    if (HAL_UARTEx_SetRxFifoThreshold(&hlpuart1, UART_RXFIFO_THRESHOLD_1_8) != HAL_OK) {
        Error_Handler();
    }
    if (HAL_UARTEx_DisableFifoMode(&hlpuart1) != HAL_OK) {
        Error_Handler();
    }
}

static void MX_SPI1_Init(void) {

    /* SPI1 parameter configuration*/
    hspi1.Instance = SPI1;
    hspi1.Init.Mode = SPI_MODE_MASTER;
    hspi1.Init.Direction = SPI_DIRECTION_2LINES;
    hspi1.Init.DataSize = SPI_DATASIZE_8BIT;
    hspi1.Init.CLKPolarity = SPI_POLARITY_LOW;
    hspi1.Init.CLKPhase = SPI_PHASE_1EDGE;
    hspi1.Init.NSS = SPI_NSS_SOFT;
    hspi1.Init.BaudRatePrescaler = SPI_BAUDRATEPRESCALER_32;
    hspi1.Init.FirstBit = SPI_FIRSTBIT_MSB;
    hspi1.Init.TIMode = SPI_TIMODE_DISABLE;
    hspi1.Init.CRCCalculation = SPI_CRCCALCULATION_DISABLE;
    hspi1.Init.CRCPolynomial = 7;
    hspi1.Init.CRCLength = SPI_CRC_LENGTH_DATASIZE;
    hspi1.Init.NSSPMode = SPI_NSS_PULSE_ENABLE;
    if (HAL_SPI_Init(&hspi1) != HAL_OK) {
        Error_Handler();
    }
}

static void MX_SPI2_Init(void) {

    /* SPI2 parameter configuration*/
    hspi2.Instance = SPI2;
    hspi2.Init.Mode = SPI_MODE_MASTER;
    hspi2.Init.Direction = SPI_DIRECTION_2LINES;
    hspi2.Init.DataSize = SPI_DATASIZE_8BIT;
    hspi2.Init.CLKPolarity = SPI_POLARITY_LOW;
    hspi2.Init.CLKPhase = SPI_PHASE_1EDGE;
    hspi2.Init.NSS = SPI_NSS_SOFT;
    hspi2.Init.BaudRatePrescaler = SPI_BAUDRATEPRESCALER_16;
    hspi2.Init.FirstBit = SPI_FIRSTBIT_MSB;
    hspi2.Init.TIMode = SPI_TIMODE_DISABLE;
    hspi2.Init.CRCCalculation = SPI_CRCCALCULATION_DISABLE;
    hspi2.Init.CRCPolynomial = 7;
    hspi2.Init.CRCLength = SPI_CRC_LENGTH_DATASIZE;
    hspi2.Init.NSSPMode = SPI_NSS_PULSE_ENABLE;
    if (HAL_SPI_Init(&hspi2) != HAL_OK) {
        Error_Handler();
    }
}

static void MX_TIM1_Init(void) {

    TIM_ClockConfigTypeDef sClockSourceConfig = {0};
    TIM_MasterConfigTypeDef sMasterConfig = {0};

    htim1.Instance = TIM1;
    htim1.Init.Prescaler = 119;
    htim1.Init.CounterMode = TIM_COUNTERMODE_UP;
    htim1.Init.Period = 49;
    htim1.Init.ClockDivision = TIM_CLOCKDIVISION_DIV1;
    htim1.Init.RepetitionCounter = 0;
    htim1.Init.AutoReloadPreload = TIM_AUTORELOAD_PRELOAD_ENABLE;
    if (HAL_TIM_Base_Init(&htim1) != HAL_OK) {
        Error_Handler();
    }
    sClockSourceConfig.ClockSource = TIM_CLOCKSOURCE_INTERNAL;
    if (HAL_TIM_ConfigClockSource(&htim1, &sClockSourceConfig) != HAL_OK) {
        Error_Handler();
    }
    sMasterConfig.MasterOutputTrigger = TIM_TRGO_RESET;
    sMasterConfig.MasterOutputTrigger2 = TIM_TRGO2_RESET;
    sMasterConfig.MasterSlaveMode = TIM_MASTERSLAVEMODE_DISABLE;
    if (HAL_TIMEx_MasterConfigSynchronization(&htim1, &sMasterConfig) != HAL_OK) {
        Error_Handler();
    }
}

static void MX_TIM2_Init(void) {

    TIM_ClockConfigTypeDef sClockSourceConfig = {0};
    TIM_MasterConfigTypeDef sMasterConfig = {0};

    htim2.Instance = TIM2;
    htim2.Init.Prescaler = 0;
    htim2.Init.CounterMode = TIM_COUNTERMODE_UP;
    htim2.Init.Period = 5199;
    htim2.Init.ClockDivision = TIM_CLOCKDIVISION_DIV1;
    htim2.Init.AutoReloadPreload = TIM_AUTORELOAD_PRELOAD_DISABLE;
    if (HAL_TIM_Base_Init(&htim2) != HAL_OK) {
        Error_Handler();
    }
    sClockSourceConfig.ClockSource = TIM_CLOCKSOURCE_INTERNAL;
    if (HAL_TIM_ConfigClockSource(&htim2, &sClockSourceConfig) != HAL_OK) {
        Error_Handler();
    }
    sMasterConfig.MasterOutputTrigger = TIM_TRGO_UPDATE;
    sMasterConfig.MasterSlaveMode = TIM_MASTERSLAVEMODE_DISABLE;
    if (HAL_TIMEx_MasterConfigSynchronization(&htim2, &sMasterConfig) != HAL_OK) {
        Error_Handler();
    }
}

static void MX_DMA_Init(void) {
    /* DMA controller clock enable */
    __HAL_RCC_DMAMUX1_CLK_ENABLE();
    __HAL_RCC_DMA1_CLK_ENABLE();

    /* DMA interrupt init */
    /* DMA1_Channel1_IRQn interrupt configuration */
    HAL_NVIC_SetPriority(DMA1_Channel1_IRQn, 0, 0);
    HAL_NVIC_EnableIRQ(DMA1_Channel1_IRQn);
    /* DMA1_Channel2_IRQn interrupt configuration */
    HAL_NVIC_SetPriority(DMA1_Channel2_IRQn, 0, 0);
    HAL_NVIC_EnableIRQ(DMA1_Channel2_IRQn);
    /* DMA1_Channel3_IRQn interrupt configuration */
    HAL_NVIC_SetPriority(DMA1_Channel3_IRQn, 0, 0);
    HAL_NVIC_EnableIRQ(DMA1_Channel3_IRQn);
    /* DMA1_Channel4_IRQn interrupt configuration */
    HAL_NVIC_SetPriority(DMA1_Channel4_IRQn, 0, 0);
    HAL_NVIC_EnableIRQ(DMA1_Channel4_IRQn);
}

static void MX_GPIO_Init(void) {
    GPIO_InitTypeDef GPIO_InitStruct = {0};

    /* GPIO Ports Clock Enable */
    __HAL_RCC_GPIOE_CLK_ENABLE();
    __HAL_RCC_GPIOC_CLK_ENABLE();
    __HAL_RCC_GPIOF_CLK_ENABLE();
    __HAL_RCC_GPIOH_CLK_ENABLE();
    __HAL_RCC_GPIOA_CLK_ENABLE();
    __HAL_RCC_GPIOB_CLK_ENABLE();
    __HAL_RCC_GPIOG_CLK_ENABLE();
    __HAL_RCC_GPIOD_CLK_ENABLE();
    HAL_PWREx_EnableVddIO2();

    /*Configure GPIO pin Output Level */
    HAL_GPIO_WritePin(GPIOF, Col_4_Pin | Col_3_Pin | Col_2_Pin, GPIO_PIN_SET);

    /*Configure GPIO pin Output Level */
    HAL_GPIO_WritePin(SD_CS_GPIO_Port, SD_CS_Pin, GPIO_PIN_RESET);

    /*Configure GPIO pin Output Level */
    HAL_GPIO_WritePin(GPIOC, GPIO_PIN_6 | GPIO_PIN_8 | GPIO_PIN_9, GPIO_PIN_RESET);

    /*Configure GPIO pin Output Level */
    HAL_GPIO_WritePin(Col_1_GPIO_Port, Col_1_Pin, GPIO_PIN_SET);

    /*Configure GPIO pins : PE2 PE3 */
    GPIO_InitStruct.Pin = GPIO_PIN_2 | GPIO_PIN_3;
    GPIO_InitStruct.Mode = GPIO_MODE_AF_PP;
    GPIO_InitStruct.Pull = GPIO_NOPULL;
    GPIO_InitStruct.Speed = GPIO_SPEED_FREQ_LOW;
    GPIO_InitStruct.Alternate = GPIO_AF13_SAI1;
    HAL_GPIO_Init(GPIOE, &GPIO_InitStruct);

    /*Configure GPIO pins : Col_4_Pin Col_3_Pin Col_2_Pin */
    GPIO_InitStruct.Pin = Col_4_Pin | Col_3_Pin | Col_2_Pin;
    GPIO_InitStruct.Mode = GPIO_MODE_OUTPUT_PP;
    GPIO_InitStruct.Pull = GPIO_NOPULL;
    GPIO_InitStruct.Speed = GPIO_SPEED_FREQ_LOW;
    HAL_GPIO_Init(GPIOF, &GPIO_InitStruct);

    /*Configure GPIO pin : PF7 */
    GPIO_InitStruct.Pin = GPIO_PIN_7;
    GPIO_InitStruct.Mode = GPIO_MODE_AF_PP;
    GPIO_InitStruct.Pull = GPIO_NOPULL;
    GPIO_InitStruct.Speed = GPIO_SPEED_FREQ_LOW;
    GPIO_InitStruct.Alternate = GPIO_AF13_SAI1;
    HAL_GPIO_Init(GPIOF, &GPIO_InitStruct);

    /*Configure GPIO pins : Row_1_Pin Row_2_Pin Row_3_Pin */
    GPIO_InitStruct.Pin = Row_1_Pin | Row_2_Pin | Row_3_Pin;
    GPIO_InitStruct.Mode = GPIO_MODE_INPUT;
    GPIO_InitStruct.Pull = GPIO_PULLUP;
    HAL_GPIO_Init(GPIOC, &GPIO_InitStruct);

    /*Configure GPIO pin : PB0 */
    GPIO_InitStruct.Pin = GPIO_PIN_0;
    GPIO_InitStruct.Mode = GPIO_MODE_AF_PP;
    GPIO_InitStruct.Pull = GPIO_NOPULL;
    GPIO_InitStruct.Speed = GPIO_SPEED_FREQ_LOW;
    GPIO_InitStruct.Alternate = GPIO_AF2_TIM3;
    HAL_GPIO_Init(GPIOB, &GPIO_InitStruct);

    /*Configure GPIO pin : Row_4_Pin */
    GPIO_InitStruct.Pin = Row_4_Pin;
    GPIO_InitStruct.Mode = GPIO_MODE_INPUT;
    GPIO_InitStruct.Pull = GPIO_PULLUP;
    HAL_GPIO_Init(Row_4_GPIO_Port, &GPIO_InitStruct);

    /*Configure GPIO pin : REWIND_Pin */
    GPIO_InitStruct.Pin = REWIND_Pin;
    GPIO_InitStruct.Mode = GPIO_MODE_IT_RISING;
    GPIO_InitStruct.Pull = GPIO_PULLUP;
    HAL_GPIO_Init(REWIND_GPIO_Port, &GPIO_InitStruct);

    /*Configure GPIO pins : PAUSE_Pin FORWARD_Pin */
    GPIO_InitStruct.Pin = PAUSE_Pin | FORWARD_Pin;
    GPIO_InitStruct.Mode = GPIO_MODE_IT_RISING;
    GPIO_InitStruct.Pull = GPIO_PULLUP;
    HAL_GPIO_Init(GPIOG, &GPIO_InitStruct);

    /*Configure GPIO pins : SD_CS_Pin Col_1_Pin */
    GPIO_InitStruct.Pin = SD_CS_Pin | Col_1_Pin;
    GPIO_InitStruct.Mode = GPIO_MODE_OUTPUT_PP;
    GPIO_InitStruct.Pull = GPIO_NOPULL;
    GPIO_InitStruct.Speed = GPIO_SPEED_FREQ_LOW;
    HAL_GPIO_Init(GPIOB, &GPIO_InitStruct);

    /*Configure GPIO pin : PB14 */
    GPIO_InitStruct.Pin = GPIO_PIN_14;
    GPIO_InitStruct.Mode = GPIO_MODE_AF_PP;
    GPIO_InitStruct.Pull = GPIO_NOPULL;
    GPIO_InitStruct.Speed = GPIO_SPEED_FREQ_LOW;
    GPIO_InitStruct.Alternate = GPIO_AF14_TIM15;
    HAL_GPIO_Init(GPIOB, &GPIO_InitStruct);

    /*Configure GPIO pins : PD8 PD9 */
    GPIO_InitStruct.Pin = GPIO_PIN_8 | GPIO_PIN_9;
    GPIO_InitStruct.Mode = GPIO_MODE_AF_PP;
    GPIO_InitStruct.Pull = GPIO_NOPULL;
    GPIO_InitStruct.Speed = GPIO_SPEED_FREQ_VERY_HIGH;
    GPIO_InitStruct.Alternate = GPIO_AF7_USART3;
    HAL_GPIO_Init(GPIOD, &GPIO_InitStruct);

    /*Configure GPIO pins : PD14 PD15 */
    GPIO_InitStruct.Pin = GPIO_PIN_14 | GPIO_PIN_15;
    GPIO_InitStruct.Mode = GPIO_MODE_AF_PP;
    GPIO_InitStruct.Pull = GPIO_NOPULL;
    GPIO_InitStruct.Speed = GPIO_SPEED_FREQ_LOW;
    GPIO_InitStruct.Alternate = GPIO_AF2_TIM4;
    HAL_GPIO_Init(GPIOD, &GPIO_InitStruct);

    /*Configure GPIO pins : PC6 PC8 PC9 */
    GPIO_InitStruct.Pin = GPIO_PIN_6 | GPIO_PIN_8 | GPIO_PIN_9;
    GPIO_InitStruct.Mode = GPIO_MODE_OUTPUT_PP;
    GPIO_InitStruct.Pull = GPIO_NOPULL;
    GPIO_InitStruct.Speed = GPIO_SPEED_FREQ_LOW;
    HAL_GPIO_Init(GPIOC, &GPIO_InitStruct);

    /*Configure GPIO pin : PC7 */
    GPIO_InitStruct.Pin = GPIO_PIN_7;
    GPIO_InitStruct.Mode = GPIO_MODE_AF_PP;
    GPIO_InitStruct.Pull = GPIO_NOPULL;
    GPIO_InitStruct.Speed = GPIO_SPEED_FREQ_LOW;
    GPIO_InitStruct.Alternate = GPIO_AF2_TIM3;
    HAL_GPIO_Init(GPIOC, &GPIO_InitStruct);

    /*Configure GPIO pins : PA8 PA10 */
    GPIO_InitStruct.Pin = GPIO_PIN_8 | GPIO_PIN_10;
    GPIO_InitStruct.Mode = GPIO_MODE_AF_PP;
    GPIO_InitStruct.Pull = GPIO_NOPULL;
    GPIO_InitStruct.Speed = GPIO_SPEED_FREQ_VERY_HIGH;
    GPIO_InitStruct.Alternate = GPIO_AF10_OTG_FS;
    HAL_GPIO_Init(GPIOA, &GPIO_InitStruct);

    /*Configure GPIO pin : PA9 */
    GPIO_InitStruct.Pin = GPIO_PIN_9;
    GPIO_InitStruct.Mode = GPIO_MODE_INPUT;
    GPIO_InitStruct.Pull = GPIO_NOPULL;
    HAL_GPIO_Init(GPIOA, &GPIO_InitStruct);

    /*Configure GPIO pins : PC10 PC11 PC12 */
    GPIO_InitStruct.Pin = GPIO_PIN_10 | GPIO_PIN_11 | GPIO_PIN_12;
    GPIO_InitStruct.Mode = GPIO_MODE_AF_PP;
    GPIO_InitStruct.Pull = GPIO_NOPULL;
    GPIO_InitStruct.Speed = GPIO_SPEED_FREQ_VERY_HIGH;
    GPIO_InitStruct.Alternate = GPIO_AF12_SDMMC1;
    HAL_GPIO_Init(GPIOC, &GPIO_InitStruct);

    /*Configure GPIO pin : PD0 */
    GPIO_InitStruct.Pin = GPIO_PIN_0;
    GPIO_InitStruct.Mode = GPIO_MODE_AF_PP;
    GPIO_InitStruct.Pull = GPIO_NOPULL;
    GPIO_InitStruct.Speed = GPIO_SPEED_FREQ_VERY_HIGH;
    GPIO_InitStruct.Alternate = GPIO_AF9_CAN1;
    HAL_GPIO_Init(GPIOD, &GPIO_InitStruct);

    /*Configure GPIO pin : PD2 */
    GPIO_InitStruct.Pin = GPIO_PIN_2;
    GPIO_InitStruct.Mode = GPIO_MODE_AF_PP;
    GPIO_InitStruct.Pull = GPIO_NOPULL;
    GPIO_InitStruct.Speed = GPIO_SPEED_FREQ_VERY_HIGH;
    GPIO_InitStruct.Alternate = GPIO_AF12_SDMMC1;
    HAL_GPIO_Init(GPIOD, &GPIO_InitStruct);

    /*Configure GPIO pins : PD3 PD5 PD6 */
    GPIO_InitStruct.Pin = GPIO_PIN_3 | GPIO_PIN_5 | GPIO_PIN_6;
    GPIO_InitStruct.Mode = GPIO_MODE_AF_PP;
    GPIO_InitStruct.Pull = GPIO_NOPULL;
    GPIO_InitStruct.Speed = GPIO_SPEED_FREQ_VERY_HIGH;
    GPIO_InitStruct.Alternate = GPIO_AF7_USART2;
    HAL_GPIO_Init(GPIOD, &GPIO_InitStruct);

    /*Configure GPIO pins : PB3 PB4 PB5 */
    GPIO_InitStruct.Pin = GPIO_PIN_3 | GPIO_PIN_4 | GPIO_PIN_5;
    GPIO_InitStruct.Mode = GPIO_MODE_AF_PP;
    GPIO_InitStruct.Pull = GPIO_NOPULL;
    GPIO_InitStruct.Speed = GPIO_SPEED_FREQ_VERY_HIGH;
    GPIO_InitStruct.Alternate = GPIO_AF6_SPI3;
    HAL_GPIO_Init(GPIOB, &GPIO_InitStruct);

    /*Configure GPIO pins : PB8 PB9 */
    GPIO_InitStruct.Pin = GPIO_PIN_8 | GPIO_PIN_9;
    GPIO_InitStruct.Mode = GPIO_MODE_AF_OD;
    GPIO_InitStruct.Pull = GPIO_NOPULL;
    GPIO_InitStruct.Speed = GPIO_SPEED_FREQ_VERY_HIGH;
    GPIO_InitStruct.Alternate = GPIO_AF4_I2C1;
    HAL_GPIO_Init(GPIOB, &GPIO_InitStruct);

    /*Configure GPIO pin : PE0 */
    GPIO_InitStruct.Pin = GPIO_PIN_0;
    GPIO_InitStruct.Mode = GPIO_MODE_AF_PP;
    GPIO_InitStruct.Pull = GPIO_NOPULL;
    GPIO_InitStruct.Speed = GPIO_SPEED_FREQ_LOW;
    GPIO_InitStruct.Alternate = GPIO_AF2_TIM4;
    HAL_GPIO_Init(GPIOE, &GPIO_InitStruct);

    /* EXTI interrupt init*/
    HAL_NVIC_SetPriority(EXTI0_IRQn, 0, 0);
    HAL_NVIC_EnableIRQ(EXTI0_IRQn);

    HAL_NVIC_SetPriority(EXTI1_IRQn, 0, 0);
    HAL_NVIC_EnableIRQ(EXTI1_IRQn);

    HAL_NVIC_SetPriority(EXTI15_10_IRQn, 0, 0);
    HAL_NVIC_EnableIRQ(EXTI15_10_IRQn);

    /* USER CODE BEGIN MX_GPIO_Init_2 */

    /*Configure GPIO pins : PD8 PD9 (USART3 TX/RX) */
    GPIO_InitStruct.Pin = GPIO_PIN_8 | GPIO_PIN_9;
    GPIO_InitStruct.Mode = GPIO_MODE_AF_PP;
    GPIO_InitStruct.Pull = GPIO_NOPULL;
    GPIO_InitStruct.Speed = GPIO_SPEED_FREQ_VERY_HIGH;
    GPIO_InitStruct.Alternate = GPIO_AF7_USART3;
    HAL_GPIO_Init(GPIOD, &GPIO_InitStruct);

    /* USER CODE END MX_GPIO_Init_2 */
}

/* USER CODE BEGIN 4 */
// Static Function declarations

static void ADC_ReadAll_Polling() {
    HAL_ADC_Start(&hadc1);
    for (int i = 0; i < 4; i++) {
        if (HAL_ADC_PollForConversion(&hadc1, 5) == HAL_OK) {
            adc_buf[i] = HAL_ADC_GetValue(&hadc1);
        }
    }
}

static void processFFT(const q15_t* in, q15_t* out, uint16_t num_samples) {
    uint32_t pos = 0;
    while ((pos + FFT_INCREMENT) <= num_samples) {
        for (int i = 0; i < FFT_SIZE; i++) {
            float32_t sample = 0.0f;
            if (pos + i < num_samples) {
                sample = (float32_t)in[pos + i] / 32768.0f;  // q15 → float
            }
            fft_in[i] = sample * window[i];
        }

        arm_rfft_fast_f32(&rfft, fft_in, fft_out, 0);

        int low_bin = 40;
        int high_bin = 90;
        // determine lowShelfGain (tied to adc_buf[0]
        uint32_t dial0 = adc_buf[0];
        if (dial0 < 15) dial0 = 0;
        if (dial0 > 4000) dial0 = 4000;
        uint32_t dial1 = adc_buf[1];
        if (dial1 < 15) dial1 = 0;
        if (dial1 > 4000) dial1 = 4000;
        float32_t lowShelfGain = (dial0 * 1.0) / 2000 * 1.0f;
        float32_t highShelfGain = (dial1 * 1.0) / 2000 * 1.0f;

        for (int b = 0; b < low_bin; b++) {
            float32_t t = (float)b / (float)low_bin;  // 0..1
            float32_t weight = lowShelfGain + (1.0f - lowShelfGain) * t;
            fft_out[b * 2] *= weight;
            fft_out[b * 2 + 1] *= weight;
        }

        for (int b = low_bin; b < high_bin; b++) {
            //			float32_t t = (float)(b - high_bin) / (float)((300 - high_bin) - 1);
            //// 0..1 			float32_t weight = 1.0f + (highShelfGain - 1.0f) * t;
            float32_t t = (float)b / (float)low_bin;  // 0..1
            float32_t weight = highShelfGain + (1.0f - highShelfGain) * t;
            fft_out[b * 2] *= weight;
            fft_out[b * 2 + 1] *= weight;
        }

        arm_rfft_fast_f32(&rfft, fft_out, fft_in, 1);

        // don't get this
        for (int i = 0; i < FFT_INCREMENT; i++) {
            fft_in[i] += overlap[i];
        }
        // end don't get this

        for (int i = 0; i < FFT_INCREMENT && pos + i < num_samples; i++) {
            float32_t x = fft_in[i];
            if (x > 0.8f) x = 0.8f;    // used to be 1.0
            if (x < -0.8f) x = -0.8f;  // same
            out[pos + i] = (int16_t)(x * 32767.0f);
        }

        for (int i = 0; i < FFT_INCREMENT; ++i) {
            overlap[i] = fft_in[i + FFT_INCREMENT];
        }

        pos += FFT_INCREMENT;
    }
}

static char read_keypad(void) {
    // Row pins
    GPIO_TypeDef* ROW_PORT[4] = {Row_1_GPIO_Port, Row_2_GPIO_Port, Row_3_GPIO_Port,
                                 Row_4_GPIO_Port};
    uint16_t ROW_PIN[4] = {Row_1_Pin, Row_2_Pin, Row_3_Pin, Row_4_Pin};

    // Col pins
    GPIO_TypeDef* COL_PORT[4] = {Col_1_GPIO_Port, Col_2_GPIO_Port, Col_3_GPIO_Port,
                                 Col_4_GPIO_Port};
    uint16_t COL_PIN[4] = {Col_1_Pin, Col_2_Pin, Col_3_Pin, Col_4_Pin};

    // Key map (customize to your keypad)
    char KEY_MAP[4][4] = {
        {'1', '2', '3', 'A'}, {'4', '5', '6', 'B'}, {'7', '8', '9', 'C'}, {'*', '0', '#', 'D'}};

    for (int c = 0; c < 4; c++) {
        // Drive all columns HIGH
        for (int i = 0; i < 4; i++) HAL_GPIO_WritePin(COL_PORT[i], COL_PIN[i], GPIO_PIN_SET);

        // Drive only this column LOW
        HAL_GPIO_WritePin(COL_PORT[c], COL_PIN[c], GPIO_PIN_RESET);

        HAL_Delay(1);  // settle time

        // Read each row
        for (int r = 0; r < 4; r++) {
            if (HAL_GPIO_ReadPin(ROW_PORT[r], ROW_PIN[r]) == GPIO_PIN_RESET) {
                HAL_Delay(20);  // debounce
                if (HAL_GPIO_ReadPin(ROW_PORT[r], ROW_PIN[r]) == GPIO_PIN_RESET)
                    return KEY_MAP[r][c];
            }
        }
    }

    return 0;
}

static void MIDI_Check() {
    switch (keyPress) {
        case '1':
            sound_effect_index = 0;
            MIDI_playing = 1;
            break;
        case '2':
            sound_effect_index = 1;
            MIDI_playing = 1;
            break;
        case '3':
            sound_effect_index = 2;
            MIDI_playing = 1;
            break;
        case 'A':
            sound_effect_index = 3;
            MIDI_playing = 1;
            break;
        case '4':
            break;
        case '5':
            break;
        case '6':
            break;
        case 'B':
            break;
        case '7':
            break;
        case '8':
            break;
        case '9':
            break;
        case 'C':
            break;
        case '*':
            break;
        case '0':
            break;
        case '#':
            break;
        case 'D':
            break;
        default:
            break;
    }
}

static void protocol_soft_reset(void) {
    __disable_irq();
    HAL_UART_AbortReceive(&hlpuart1);
    g_uart_rx.state = RX_STATE_WAIT_PREFIX;
    g_uart_rx.payload_len = 0;
    g_uart_rx.payload_dst = NULL;

    image_pkt_ready = 0;
    image_pkt_len = 0;
    audio_pkt_ready = 0;
    audio_pkt_len = 0;

    half0_free = 1;
    half1_free = 1;
    audio_stream_active = 0;
    audio_prime_count = 0;  // NEW: reset priming
    __enable_irq();

    uart_start_header_rx();
}

void HAL_GPIO_EXTI_Callback(uint16_t GPIO_Pin) {
    static uint32_t last = 0;
    uint32_t now = HAL_GetTick();

    if (now - last < 30) return;  // debounce
    last = now;

    if (GPIO_Pin == REWIND_Pin)  // Rewind button
        rewind_flag = 1;

    else if (GPIO_Pin == PAUSE_Pin)  // Pause/unpause toggle
        pause_state ^= 1;

    else if (GPIO_Pin == FORWARD_Pin)  // Forward button
        forward_flag = 1;
}

static void uart_start_header_rx(void) {
    g_uart_rx.state = RX_STATE_WAIT_PREFIX;
    HAL_UART_Receive_DMA(&hlpuart1, g_uart_rx.prefix_buf,
                         PKT_PREFIX_SIZE);  // 9 bytes: sync + header
}

void HAL_UART_RxCpltCallback(UART_HandleTypeDef* huart) {
    if (huart->Instance != LPUART1) return;

    if (g_uart_rx.state == RX_STATE_WAIT_PREFIX) {
        // We just received sync + header (9 bytes)
        uint8_t* buf = g_uart_rx.prefix_buf;

        // 1) Check sync bytes
        if (buf[0] != 0xA5 || buf[1] != 0x5A) {
            uart_start_header_rx();
            return;
        }

        // 2) Extract payload length
        uint16_t payload_len = ((uint16_t)buf[7] << 8) | buf[8];

        // 3) Parse header fields
        g_uart_rx.header.version = buf[2];
        g_uart_rx.header.data_type = buf[3];
        g_uart_rx.header.flags = buf[4];
        g_uart_rx.header.seq = ((uint16_t)buf[5] << 8) | buf[6];
        g_uart_rx.header.len = payload_len;
        g_uart_rx.payload_len = payload_len;

        // 4) Choose destination buffer based on packet type
        switch (g_uart_rx.header.data_type) {
            case PKT_DATA_IMAGE:
                if (payload_len + PKT_CRC_SIZE > sizeof(image_pkt_buf)) {
                    uart_start_header_rx();
                    return;
                }
                g_uart_rx.payload_dst = image_pkt_buf;
                break;

            case PKT_DATA_AUDIO:
                // Sanity-check payload length in BYTES (just payload, *not* CRC)
                if (payload_len > AUD_MAX_PAYLOAD_BYTES) {
                    uart_start_header_rx();
                    return;
                }

                // Choose a free half of dac_buf as DMA destination for the *payload*
                if (half0_free) {
                    g_uart_rx.payload_dst = audio_pkt_buf0;  // first half of dac_buf
                    audio_write_idx = 0;
                    half0_free = 0;  // now reserved
                } else if (half1_free) {
                    g_uart_rx.payload_dst = audio_pkt_buf1;  // second half of dac_buf
                    audio_write_idx = 1;
                    half1_free = 0;  // now reserved
                } else {
                    // No free half; can't accept this packet safely
                    uart_start_header_rx();
                    return;
                }
                break;

            case PKT_DATA_CMD:
                if (payload_len > sizeof(ctrl_buf)) {
                    uart_start_header_rx();
                    return;
                }
                g_uart_rx.payload_dst = ctrl_buf;
                break;

            default:
                // Unknown type -> ignore this frame
                uart_start_header_rx();
                return;
        }

        // 5) Set state and start DMA for payload + CRC
        g_uart_rx.state = RX_STATE_WAIT_PAYLOAD;

        if (g_uart_rx.header.data_type == PKT_DATA_IMAGE) {
            // Image: payload + CRC in one shot
            HAL_UART_Receive_DMA(&hlpuart1, g_uart_rx.payload_dst, payload_len + PKT_CRC_SIZE);
        } else if (g_uart_rx.header.data_type == PKT_DATA_AUDIO) {
            // Audio: ONLY the payload goes into dac_buf; CRC comes next in a tiny transfer
            HAL_UART_Receive_DMA(&hlpuart1, g_uart_rx.payload_dst, payload_len);
        } else if (g_uart_rx.header.data_type == PKT_DATA_CMD) {
            // Control: simplest is payload+CRC in one shot like image
            HAL_UART_Receive_DMA(&hlpuart1, g_uart_rx.payload_dst, payload_len + PKT_CRC_SIZE);
        }

        // 6) Tell PC "header OK, I'm ready for payload"
        uint8_t ack_hdr = UART_ACK_HEADER;  // 'H'
        HAL_UART_Transmit(&hlpuart1, &ack_hdr, 1, 10);
    } else if (g_uart_rx.state == RX_STATE_WAIT_PAYLOAD) {
        if (g_uart_rx.header.data_type == PKT_DATA_IMAGE) {
            // IMAGE: we already DMA'd payload+CRC into image_pkt_buf
            image_pkt_len = g_uart_rx.payload_len;  // payload length (no CRC)
            image_pkt_ready = 1;

            // Back to waiting for next header
            uart_start_header_rx();
        } else if (g_uart_rx.header.data_type == PKT_DATA_AUDIO) {
            // AUDIO: we have JUST the payload in dac_buf now.
            // Next, we need to grab the 2 CRC bytes.

            g_uart_rx.state = RX_STATE_WAIT_CRC;

            // Start a tiny 2-byte DMA into audio_crc_buf
            HAL_UART_Receive_DMA(&hlpuart1, audio_crc_buf, PKT_CRC_SIZE);
            // Do NOT call uart_start_header_rx() yet; we still need CRC.
        } else if (g_uart_rx.header.data_type == PKT_DATA_CMD) {
            // CTRL: payload + CRC already in ctrl_buf
            ctrl_pkt_len = g_uart_rx.payload_len;  // payload length (no CRC)
            ctrl_pkt_ready = 1;

            // Go back to waiting for next header
            uart_start_header_rx();
        }

    } else if (g_uart_rx.state == RX_STATE_WAIT_CRC) {
        // We just finished receiving the 2 CRC bytes for an audio packet
        if (g_uart_rx.header.data_type == PKT_DATA_AUDIO) {
            audio_pkt_len = g_uart_rx.payload_len;  // just payload length
            audio_pkt_ready = 1;
        }

        // Do NOT start the next header RX here.
        // Just mark that we're logically back in WAIT_PREFIX;
        // the main loop will call uart_start_header_rx() once it
        // has validated this packet and sent 'S' or 'E'.
        g_uart_rx.state = RX_STATE_WAIT_PREFIX;
    }
}

void HAL_DAC_ConvHalfCpltCallbackCh1(DAC_HandleTypeDef* hdac) {
    if (hdac->Instance != DAC1) return;

    half0_free = 1;

    if (audio_stream_active) {
        uint8_t req = UART_ACK_NEXT_AUDIO_CHUNK;  // 'A'
        HAL_UART_Transmit(&hlpuart1, &req, 1, 10);
    }
}

void HAL_DAC_ConvCpltCallbackCh1(DAC_HandleTypeDef* hdac) {
    if (hdac->Instance != DAC1) return;

    half1_free = 1;

    if (audio_stream_active) {
        uint8_t req = UART_ACK_NEXT_AUDIO_CHUNK;  // 'A'
        HAL_UART_Transmit(&hlpuart1, &req, 1, 10);
    }
}

void HAL_UART_ErrorCallback(UART_HandleTypeDef* huart) {
    if (huart->Instance == LPUART1) {
        // Log something if you have a debug LED/UART
        protocol_soft_reset();
    }
}

/* USER CODE END 4 */

void Error_Handler(void) {
    __disable_irq();
    while (1) {
    }
}
